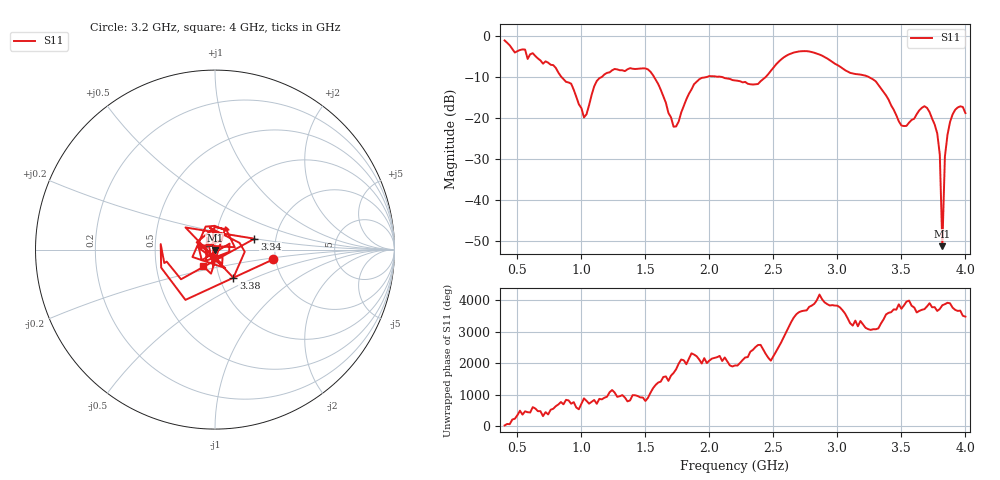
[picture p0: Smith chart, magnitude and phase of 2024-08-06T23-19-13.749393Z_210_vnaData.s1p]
!Created with skrf (http://scikit-rf.org).
# Hz S RI R 50.0
!freq ReS11 ImS11
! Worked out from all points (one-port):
!   181 points, 400 MHz to 4 GHz, reference 50 ohm
!   lowest |S11| = -51.2 dB at 3.82 GHz (marker M1), VSWR 1.01, Z = 49.8 - j0.223 ohm
!   |S11| at or under -10 dB: 1.567 GHz to 1.986 GHz (419.9 MHz wide, 23.6 % of centre); 2.083 GHz to 2.442 GHz (359.2 MHz wide, 15.9 % of centre); 3.24 GHz to end of sweep (the widest 3 of 5)
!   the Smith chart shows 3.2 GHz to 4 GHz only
!   S11 on the Smith chart (normalised r, x): 3.2 GHz: 1.95, -0.24; 3.34 GHz: 1.55, +0.20; 3.38 GHz: 1.16, -0.38; 4 GHz: 0.86, -0.16
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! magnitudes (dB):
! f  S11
! 400 MHz  -1.2
! 860 MHz  -10.6
! 920 MHz  -11.7
! 1.02 GHz  -19.9
! 1.12 GHz  -11.1
! 1.3 GHz  -8.4
! 1.52 GHz  -8.2
! 1.6 GHz  -11.8
! 1.72 GHz  -22.2
! 1.76 GHz  -20.9
! 1.92 GHz  -10.7
! 2.2 GHz  -10.9
! 2.38 GHz  -11.8
! 2.66 GHz  -4.1
! 3.1 GHz  -9.1
! 3.2 GHz  -9.6
! 3.34 GHz  -12.8
! 3.38 GHz  -14.6
! 3.5 GHz  -21.9
! 3.56 GHz  -21.2
! 3.68 GHz  -17.2
! 3.78 GHz  -23.8
! 3.8 GHz  -28.9
! 3.82 GHz  -51.2
! 3.84 GHz  -29.4
! 3.86 GHz  -24.2
! 3.92 GHz  -18.1
! 4 GHz  -18.8
